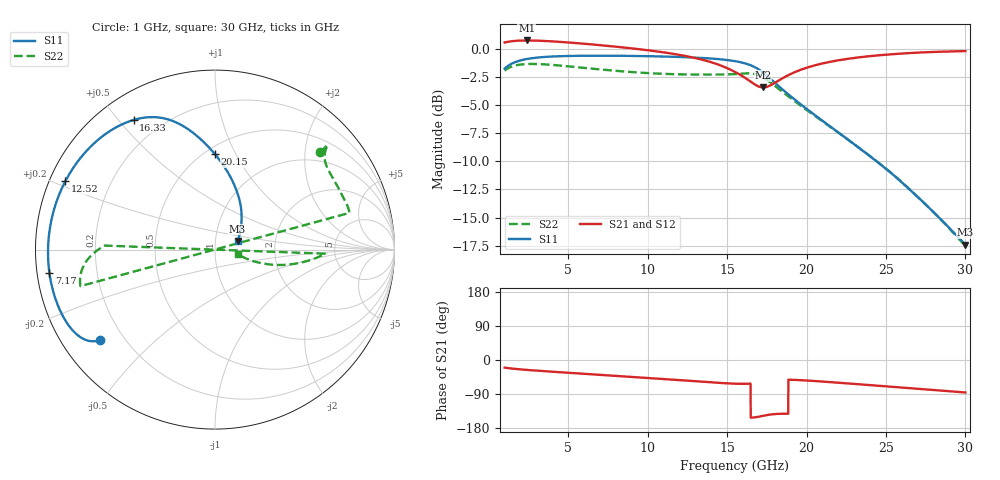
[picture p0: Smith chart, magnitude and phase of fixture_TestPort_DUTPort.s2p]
# Hz S MA R 50.0
!freq magS11 angS11 magS21 angS21 magS12 angS12 magS22 angS22
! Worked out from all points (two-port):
!   2901 points, 1 GHz to 30 GHz, reference 50 ohm
!   highest |S21| = 0.74 dB at 2.4 GHz (marker M1); lowest = -3.4 dB at 17.27 GHz (marker M2)
!   |S21| within 3 dB of the highest: start of sweep to 15.76 GHz; 18.98 GHz to end of sweep
!   lowest |S11| = -17.4 dB at 30 GHz (marker M3), VSWR 1.31, Z = 64.1 + j6.19 ohm
!   |S11| at or under -10 dB: 24.41 GHz to end of sweep
!   |S22| runs from -17.5 to -1.3 dB; largest |S21 - S12| = 1.1e-15
!   S11 on the Smith chart (normalised r, x): 1 GHz: 0.11, -0.34; 7.17 GHz: 0.04, -0.07; 12.52 GHz: 0.05, +0.22; 16.33 GHz: 0.10, +0.55; 20.15 GHz: 0.56, +0.83; 30 GHz: 1.28, +0.12
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1e9  0.8157 -141.6  1.066 -20.0  1.066 -20.0  0.8 42.7
2.4e9  0.9008 -147.9  1.089 -26.2  1.089 -26.2  0.8556 43.0
4e9  0.9241 -155.7  1.079 -30.9  1.079 -30.9  0.8479 42.7
5.84e9  0.9311 -165.1  1.055 -35.8  1.055 -35.8  0.8247 41.8
7.17e9  0.9317 -172.1  1.035 -39.4  1.035 -39.4  0.8076 40.8
8.97e9  0.9295 177.8  1.005 -44.3  1.005 -44.3  0.7883 39.0
1.067e10  0.9251 167.7  0.9715 -49.1  0.9715 -49.1  0.7755 36.5
1.252e10  0.9167 155.4  0.9249 -54.6  0.9249 -54.6  0.7686 32.6
1.411e10  0.9038 143.4  0.8669 -59.3  0.8669 -59.3  0.7681 27.8
1.55e10  0.8812 130.9  0.789 -62.5  0.789 -62.5  0.7714 21.9
1.633e10  0.8528 122.1  0.7272 -62.6  0.7272 -62.6  0.7778 16.6
1.634e10  0.8524 122.0  0.7264 -62.6  0.7264 -62.6  0.7778 16.5
1.663e10  0.8364 118.6  0.703 -151.8  0.703 -151.8  0.7744 -166.1
1.727e10  0.7839 111.2  0.673 -147.3  0.673 -147.3  0.7446 -172.1
1.786e10  0.7219 105.4  0.6957 -143.2  0.6957 -143.2  0.697 -176.8
1.871e10  0.6396 98.9  0.7543 -141.9  0.7543 -141.9  0.626 178.5
1.9e10  0.6151 97.0  0.7724 -52.1  0.7724 -52.1  0.6038 -2.7
2.015e10  0.5311 90.0  0.8296 -54.5  0.8296 -54.5  0.5257 -6.7
2.034e10  0.5189 88.9  0.8371 -55.0  0.8371 -55.0  0.5141 -7.2
2.259e10  0.3959 75.9  0.9021 -61.8  0.9021 -61.8  0.3953 -12.4
2.517e10  0.2863 60.1  0.9434 -70.1  0.9434 -70.1  0.2869 -15.9
3e10  0.1346 20.7  0.9765 -85.7  0.9765 -85.7  0.1326 -11.4
